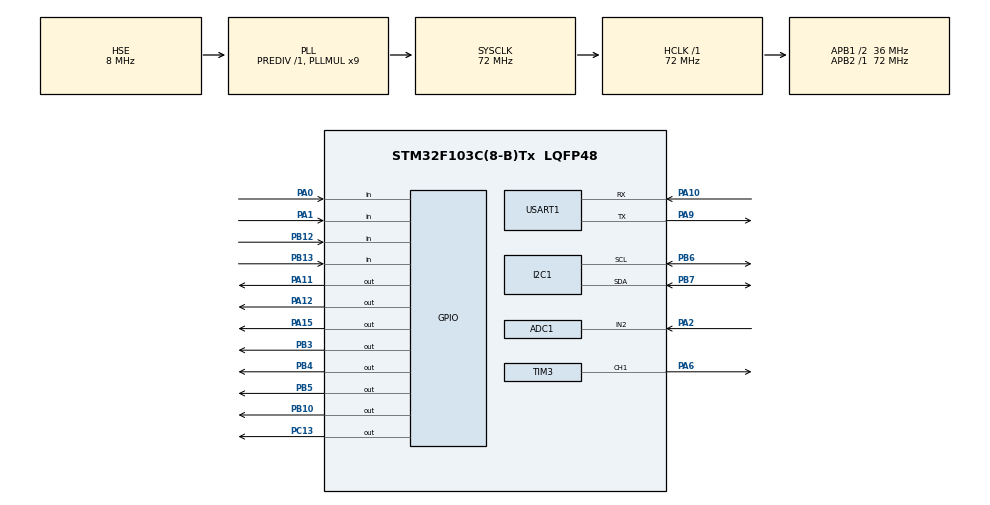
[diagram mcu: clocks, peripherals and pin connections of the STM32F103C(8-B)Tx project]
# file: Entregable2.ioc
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ADC1.Channel-0\#ChannelRegularConversion=ADC_CHANNEL_2
ADC1.ContinuousConvMode=DISABLE
ADC1.DataAlign=ADC_DATAALIGN_RIGHT
ADC1.EnableAnalogWatchDog=false
ADC1.EnableInjectedConversion=DISABLE
ADC1.EnableRegularConversion=ENABLE
ADC1.ExternalTrigInjecConv=ADC_INJECTED_SOFTWARE_START
ADC1.InjNumberOfConversion=1
ADC1.NbrOfConversionFlag=1
ADC1.Rank-0\#ChannelRegularConversion=1
ADC1.SamplingTime-0\#ChannelRegularConversion=ADC_SAMPLETIME_1CYCLE_5
ADC1.master=1
Dma.Request0=TIM3_CH1/TRIG
Dma.Request1=USART1_TX
Dma.TIM3_CH1/TRIG.0.Direction=DMA_MEMORY_TO_PERIPH
Dma.TIM3_CH1/TRIG.0.Instance=DMA1_Channel6
Dma.TIM3_CH1/TRIG.0.MemDataAlignment=DMA_MDATAALIGN_HALFWORD
Dma.TIM3_CH1/TRIG.0.MemInc=DMA_MINC_ENABLE
Dma.TIM3_CH1/TRIG.0.Mode=DMA_CIRCULAR
Dma.TIM3_CH1/TRIG.0.PeriphDataAlignment=DMA_PDATAALIGN_WORD
Dma.TIM3_CH1/TRIG.0.PeriphInc=DMA_PINC_DISABLE
Dma.TIM3_CH1/TRIG.0.Priority=DMA_PRIORITY_LOW
Dma.USART1_TX.1.Direction=DMA_MEMORY_TO_PERIPH
Dma.USART1_TX.1.Instance=DMA1_Channel4
Dma.USART1_TX.1.MemDataAlignment=DMA_MDATAALIGN_BYTE
Dma.USART1_TX.1.MemInc=DMA_MINC_ENABLE
Dma.USART1_TX.1.Mode=DMA_NORMAL
Dma.USART1_TX.1.PeriphDataAlignment=DMA_PDATAALIGN_BYTE
Dma.USART1_TX.1.PeriphInc=DMA_PINC_DISABLE
Dma.USART1_TX.1.Priority=DMA_PRIORITY_LOW
FREERTOS.Queues01=eventa2,7,event_t,0,Dynamic,NULL,NULL
FREERTOS.Tasks01=SignalGenerator,24,140,SignalGeneratorTask,Default,NULL,Dynamic,NULL,NULL;ScreenControler,24,152,ScreenControlerTask,Default,NULL,Dynamic,NULL,NULL;InputControler,40,128,InputControlerTask,Default,NULL,Dynamic,NULL,NULL;DataControler,32,128,DataControlerTask,Default,NULL,Dynamic,NULL,NULL
FREERTOS.configTOTAL_HEAP_SIZE=3100
FREERTOS.configUSE_APPLICATION_TASK_TAG=1
FREERTOS.configUSE_NEWLIB_REENTRANT=1
I2C1.I2C_Mode=I2C_Fast
Mcu.Family=STM32F1
Mcu.Name=STM32F103C(8-B)Tx
Mcu.Package=LQFP48
NVIC.ADC1_2_IRQn=true\:5\:0\:false\:false\:true\:true\:true\:true\:true
NVIC.DMA1_Channel4_IRQn=true\:5\:0\:false\:false\:true\:true\:false\:true\:true
NVIC.DMA1_Channel6_IRQn=true\:5\:0\:false\:false\:true\:true\:false\:true\:true
NVIC.PriorityGroup=NVIC_PRIORITYGROUP_4
NVIC.TIM2_IRQn=true\:0\:0\:true\:false\:true\:false\:true\:true\:true
NVIC.TIM4_IRQn=true\:15\:0\:false\:false\:true\:false\:false\:true\:true
NVIC.TimeBase=TIM4_IRQn
NVIC.TimeBaseIP=TIM4
PA0-WKUP.GPIO_PuPd=GPIO_PULLUP
PA0-WKUP.Signal=GPIO_Input
PA1.GPIO_PuPd=GPIO_PULLUP
PA1.Signal=GPIO_Input
PA10.Mode=Asynchronous
PA10.Signal=USART1_RX
PA11.Signal=GPIO_Output
PA12.Signal=GPIO_Output
PA13.Mode=Serial_Wire
PA13.Signal=SYS_JTMS-SWDIO
PA14.Mode=Serial_Wire
PA14.Signal=SYS_JTCK-SWCLK
PA15.Signal=GPIO_Output
PA2.Signal=ADCx_IN2
PA6.Signal=S_TIM3_CH1
PA9.Mode=Asynchronous
PA9.Signal=USART1_TX
PB10.Signal=GPIO_Output
PB12.GPIO_PuPd=GPIO_PULLDOWN
PB12.Signal=GPIO_Input
PB13.GPIO_PuPd=GPIO_PULLUP
PB13.Signal=GPIO_Input
PB3.Signal=GPIO_Output
PB4.Signal=GPIO_Output
PB5.Signal=GPIO_Output
PB6.Mode=I2C
PB6.Signal=I2C1_SCL
PB7.Mode=I2C
PB7.Signal=I2C1_SDA
PC13-TAMPER-RTC.Signal=GPIO_Output
PD0-OSC_IN.Mode=HSE-External-Oscillator
PD0-OSC_IN.Signal=RCC_OSC_IN
PD1-OSC_OUT.Mode=HSE-External-Oscillator
PD1-OSC_OUT.Signal=RCC_OSC_OUT
ProjectManager.HeapSize=0x200
ProjectManager.StackSize=0x400
ProjectManager.TargetToolchain=STM32CubeIDE
RCC.ADCPresc=RCC_ADCPCLK2_DIV8
RCC.AHBFreq_Value=72000000
RCC.APB1CLKDivider=RCC_HCLK_DIV2
RCC.APB1Freq_Value=36000000
RCC.APB1TimFreq_Value=72000000
RCC.APB2Freq_Value=72000000
RCC.APB2TimFreq_Value=72000000
RCC.HCLKFreq_Value=72000000
RCC.PLLMUL=RCC_PLL_MUL9
RCC.PLLSourceVirtual=RCC_PLLSOURCE_HSE
RCC.SYSCLKFreq_VALUE=72000000
RCC.SYSCLKSource=RCC_SYSCLKSOURCE_PLLCLK
RCC.USBFreq_Value=72000000
SH.ADCx_IN2.0=ADC1_IN2,IN2
SH.S_TIM3_CH1.0=TIM3_CH1,PWM Generation1 CH1
TIM2.Period=99
TIM2.Prescaler=719
TIM3.Channel-PWM\ Generation1\ CH1=TIM_CHANNEL_1
TIM3.Period=7
TIM3.Prescaler=200
USART1.VirtualMode=VM_ASYNC
VP_FREERTOS_VS_CMSIS_V2.Mode=CMSIS_V2
VP_SYS_VS_tim4.Mode=TIM4
VP_TIM2_VS_ClockSourceINT.Mode=Internal
VP_TIM3_VS_ClockSourceINT.Mode=Internal
board=custom

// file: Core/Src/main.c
/* USER CODE BEGIN Header */
/**
  ******************************************************************************
  * @file           : main.c
  * @brief          : Main program body
  ******************************************************************************
  * @attention
  *
  * Copyright (c) 2024 STMicroelectronics.
  * All rights reserved.
  *
  * This software is licensed under terms that can be found in the LICENSE file
  * in the root directory of this software component.
  * If no LICENSE file comes with this software, it is provided AS-IS.
  *
  ******************************************************************************
  */
/* USER CODE END Header */
#include "main.h"
#include "cmsis_os.h"

/* USER CODE BEGIN Includes */
#include "fonts.h"
#include "ssd1306.h"
#include "task.h"
#include <stdio.h>
#include "fft.h"
#include "tomasitos_library.h"
#include "math.h"
//#include "twid256.h"
/* USER CODE END Includes */

/* USER CODE BEGIN PD */
#define ENCODER_BUTTON 	GPIOB,GPIO_PIN_13
#define BUTTON			GPIOB,GPIO_PIN_12
#define LED				GPIOC,GPIO_PIN_13
#define NSEN 130
#define VMAX 720

#define PIN0			GPIOA,GPIO_PIN_11
#define PIN1			GPIOA,GPIO_PIN_12
#define PIN2			GPIOA,GPIO_PIN_15
#define PIN3			GPIOB,GPIO_PIN_3
#define PIN4			GPIOB,GPIO_PIN_4
#define PIN5			GPIOB,GPIO_PIN_5

//#define FFT_BUFFER_SIZE 256
#define ADC_BUFFER_SIZE 256
/* USER CODE END PD */

ADC_HandleTypeDef hadc1;

I2C_HandleTypeDef hi2c1;

TIM_HandleTypeDef htim2;
TIM_HandleTypeDef htim3;
DMA_HandleTypeDef hdma_tim3_ch1_trig;

UART_HandleTypeDef huart1;
DMA_HandleTypeDef hdma_usart1_tx;

/* Definitions for SignalGenerator */
osThreadId_t SignalGeneratorHandle;
const osThreadAttr_t SignalGenerator_attributes = {
  .name = "SignalGenerator",
  .stack_size = 140 * 4,
  .priority = (osPriority_t) osPriorityNormal,
};
/* Definitions for ScreenControler */
osThreadId_t ScreenControlerHandle;
const osThreadAttr_t ScreenControler_attributes = {
  .name = "ScreenControler",
  .stack_size = 152 * 4,
  .priority = (osPriority_t) osPriorityNormal,
};
/* Definitions for InputControler */
osThreadId_t InputControlerHandle;
const osThreadAttr_t InputControler_attributes = {
  .name = "InputControler",
  .stack_size = 128 * 4,
  .priority = (osPriority_t) osPriorityHigh,
};
/* Definitions for DataControler */
osThreadId_t DataControlerHandle;
const osThreadAttr_t DataControler_attributes = {
  .name = "DataControler",
  .stack_size = 128 * 4,
  .priority = (osPriority_t) osPriorityAboveNormal,
};
/* Definitions for eventa2 */
osMessageQueueId_t eventa2Handle;
const osMessageQueueAttr_t eventa2_attributes = {
  .name = "eventa2"
};
/* USER CODE BEGIN PV */
typedef enum{display_init,display1,display2A,display2B,display2C,display3,displayUART}state_t;
typedef enum{null,button,button2,dec,inc}event_t;
volatile int period=26;
//volatile uint16_t muestra_vieja=0;
volatile int x=0;
uint8_t xmax=0;
volatile uint8_t amplitud=100;
volatile uint32_t j_adc=0;
volatile uint8_t Flag_muestras=0;
uint16_t adc_buffer[ADC_BUFFER_SIZE];
uint32_t p_buffer[ADC_BUFFER_SIZE];
struct cmpx FFT_buffer[ADC_BUFFER_SIZE];
volatile int button_flag_counter=0;
volatile int button_flag_counter_ant=4;

/* USER CODE END PV */

void SystemClock_Config(void);
static void MX_GPIO_Init(void);
static void MX_DMA_Init(void);
static void MX_I2C1_Init(void);
static void MX_TIM3_Init(void);
static void MX_ADC1_Init(void);
static void MX_TIM2_Init(void);
static void MX_USART1_UART_Init(void);
void SignalGeneratorTask(void *argument);
void ScreenControlerTask(void *argument);
void InputControlerTask(void *argument);
void DataControlerTask(void *argument);

/* USER CODE BEGIN PFP */
void display(state_t *actual, event_t evt);
void action(state_t dsp);
void parche();
//void HAL_ADC_ConvCpltCallback(ADC_HandleTypeDef hadc1);
/* USER CODE END PFP */

int main(void)
{

  /* MCU Configuration--------------------------------------------------------*/

  /* Reset of all peripherals, Initializes the Flash interface and the Systick. */
  HAL_Init();

  /* Configure the system clock */
  SystemClock_Config();

  /* Initialize all configured peripherals */
  MX_GPIO_Init();
  MX_DMA_Init();
  MX_I2C1_Init();
  MX_TIM3_Init();
  MX_ADC1_Init();
  MX_TIM2_Init();
  MX_USART1_UART_Init();
  /* USER CODE BEGIN 2 */
  HAL_GPIO_WritePin(LED, 1);
  HAL_TIM_Base_Start_IT(&htim2);

  SSD1306_Init();

  /* USER CODE END 2 */

  /* Init scheduler */
  osKernelInitialize();

  /* Create the queue(s) */
  /* creation of eventa2 */
  eventa2Handle = osMessageQueueNew (7, sizeof(event_t), &eventa2_attributes);

  /* Create the thread(s) */
  /* creation of SignalGenerator */
  SignalGeneratorHandle = osThreadNew(SignalGeneratorTask, NULL, &SignalGenerator_attributes);

  /* creation of ScreenControler */
  ScreenControlerHandle = osThreadNew(ScreenControlerTask, NULL, &ScreenControler_attributes);

  /* creation of InputControler */
  InputControlerHandle = osThreadNew(InputControlerTask, NULL, &InputControler_attributes);

  /* creation of DataControler */
  DataControlerHandle = osThreadNew(DataControlerTask, NULL, &DataControler_attributes);

  /* Start scheduler */
  osKernelStart();

  /* We should never get here as control is now taken by the scheduler */

  /* Infinite loop */
  while (1)
  {

  }
}

void SystemClock_Config(void)
{
  RCC_OscInitTypeDef RCC_OscInitStruct = {0};
  RCC_ClkInitTypeDef RCC_ClkInitStruct = {0};
  RCC_PeriphCLKInitTypeDef PeriphClkInit = {0};

  /** Initializes the RCC Oscillators according to the specified parameters
  * in the RCC_OscInitTypeDef structure.
  */
  RCC_OscInitStruct.OscillatorType = RCC_OSCILLATORTYPE_HSE;
  RCC_OscInitStruct.HSEState = RCC_HSE_ON;
  RCC_OscInitStruct.HSEPredivValue = RCC_HSE_PREDIV_DIV1;
  RCC_OscInitStruct.HSIState = RCC_HSI_ON;
  RCC_OscInitStruct.PLL.PLLState = RCC_PLL_ON;
  RCC_OscInitStruct.PLL.PLLSource = RCC_PLLSOURCE_HSE;
  RCC_OscInitStruct.PLL.PLLMUL = RCC_PLL_MUL9;
  if (HAL_RCC_OscConfig(&RCC_OscInitStruct) != HAL_OK)
  {
    Error_Handler();
  }

  /** Initializes the CPU, AHB and APB buses clocks
  */
  RCC_ClkInitStruct.ClockType = RCC_CLOCKTYPE_HCLK|RCC_CLOCKTYPE_SYSCLK
                              |RCC_CLOCKTYPE_PCLK1|RCC_CLOCKTYPE_PCLK2;
  RCC_ClkInitStruct.SYSCLKSource = RCC_SYSCLKSOURCE_PLLCLK;
  RCC_ClkInitStruct.AHBCLKDivider = RCC_SYSCLK_DIV1;
  RCC_ClkInitStruct.APB1CLKDivider = RCC_HCLK_DIV2;
  RCC_ClkInitStruct.APB2CLKDivider = RCC_HCLK_DIV1;

  if (HAL_RCC_ClockConfig(&RCC_ClkInitStruct, FLASH_LATENCY_2) != HAL_OK)
  {
    Error_Handler();
  }
  PeriphClkInit.PeriphClockSelection = RCC_PERIPHCLK_ADC;
  PeriphClkInit.AdcClockSelection = RCC_ADCPCLK2_DIV8;
  if (HAL_RCCEx_PeriphCLKConfig(&PeriphClkInit) != HAL_OK)
  {
    Error_Handler();
  }
}

static void MX_ADC1_Init(void)
{

  ADC_ChannelConfTypeDef sConfig = {0};

  /** Common config
  */
  hadc1.Instance = ADC1;
  hadc1.Init.ScanConvMode = ADC_SCAN_DISABLE;
  hadc1.Init.ContinuousConvMode = DISABLE;
  hadc1.Init.DiscontinuousConvMode = DISABLE;
  hadc1.Init.ExternalTrigConv = ADC_SOFTWARE_START;
  hadc1.Init.DataAlign = ADC_DATAALIGN_RIGHT;
  hadc1.Init.NbrOfConversion = 1;
  if (HAL_ADC_Init(&hadc1) != HAL_OK)
  {
    Error_Handler();
  }

  /** Configure Regular Channel
  */
  sConfig.Channel = ADC_CHANNEL_2;
  sConfig.Rank = ADC_REGULAR_RANK_1;
  sConfig.SamplingTime = ADC_SAMPLETIME_1CYCLE_5;
  if (HAL_ADC_ConfigChannel(&hadc1, &sConfig) != HAL_OK)
  {
    Error_Handler();
  }

}

static void MX_I2C1_Init(void)
{

  hi2c1.Instance = I2C1;
  hi2c1.Init.ClockSpeed = 400000;
  hi2c1.Init.DutyCycle = I2C_DUTYCYCLE_2;
  hi2c1.Init.OwnAddress1 = 0;
  hi2c1.Init.AddressingMode = I2C_ADDRESSINGMODE_7BIT;
  hi2c1.Init.DualAddressMode = I2C_DUALADDRESS_DISABLE;
  hi2c1.Init.OwnAddress2 = 0;
  hi2c1.Init.GeneralCallMode = I2C_GENERALCALL_DISABLE;
  hi2c1.Init.NoStretchMode = I2C_NOSTRETCH_DISABLE;
  if (HAL_I2C_Init(&hi2c1) != HAL_OK)
  {
    Error_Handler();
  }

}

static void MX_TIM2_Init(void)
{

  TIM_ClockConfigTypeDef sClockSourceConfig = {0};
  TIM_MasterConfigTypeDef sMasterConfig = {0};

  htim2.Instance = TIM2;
  htim2.Init.Prescaler = 719;
  htim2.Init.CounterMode = TIM_COUNTERMODE_UP;
  htim2.Init.Period = 99;
  htim2.Init.ClockDivision = TIM_CLOCKDIVISION_DIV1;
  htim2.Init.AutoReloadPreload = TIM_AUTORELOAD_PRELOAD_DISABLE;
  if (HAL_TIM_Base_Init(&htim2) != HAL_OK)
  {
    Error_Handler();
  }
  sClockSourceConfig.ClockSource = TIM_CLOCKSOURCE_INTERNAL;
  if (HAL_TIM_ConfigClockSource(&htim2, &sClockSourceConfig) != HAL_OK)
  {
    Error_Handler();
  }
  sMasterConfig.MasterOutputTrigger = TIM_TRGO_RESET;
  sMasterConfig.MasterSlaveMode = TIM_MASTERSLAVEMODE_DISABLE;
  if (HAL_TIMEx_MasterConfigSynchronization(&htim2, &sMasterConfig) != HAL_OK)
  {
    Error_Handler();
  }

}

static void MX_TIM3_Init(void)
{

  TIM_ClockConfigTypeDef sClockSourceConfig = {0};
  TIM_MasterConfigTypeDef sMasterConfig = {0};
  TIM_OC_InitTypeDef sConfigOC = {0};

  htim3.Instance = TIM3;
  htim3.Init.Prescaler = 200;
  htim3.Init.CounterMode = TIM_COUNTERMODE_UP;
  htim3.Init.Period = 7;
  htim3.Init.ClockDivision = TIM_CLOCKDIVISION_DIV1;
  htim3.Init.AutoReloadPreload = TIM_AUTORELOAD_PRELOAD_DISABLE;
  if (HAL_TIM_Base_Init(&htim3) != HAL_OK)
  {
    Error_Handler();
  }
  sClockSourceConfig.ClockSource = TIM_CLOCKSOURCE_INTERNAL;
  if (HAL_TIM_ConfigClockSource(&htim3, &sClockSourceConfig) != HAL_OK)
  {
    Error_Handler();
  }
  if (HAL_TIM_PWM_Init(&htim3) != HAL_OK)
  {
    Error_Handler();
  }
  sMasterConfig.MasterOutputTrigger = TIM_TRGO_RESET;
  sMasterConfig.MasterSlaveMode = TIM_MASTERSLAVEMODE_DISABLE;
  if (HAL_TIMEx_MasterConfigSynchronization(&htim3, &sMasterConfig) != HAL_OK)
  {
    Error_Handler();
  }
  sConfigOC.OCMode = TIM_OCMODE_PWM1;
  sConfigOC.Pulse = 0;
  sConfigOC.OCPolarity = TIM_OCPOLARITY_HIGH;
  sConfigOC.OCFastMode = TIM_OCFAST_DISABLE;
  if (HAL_TIM_PWM_ConfigChannel(&htim3, &sConfigOC, TIM_CHANNEL_1) != HAL_OK)
  {
    Error_Handler();
  }
  HAL_TIM_MspPostInit(&htim3);

}

static void MX_USART1_UART_Init(void)
{

  huart1.Instance = USART1;
  huart1.Init.BaudRate = 115200;
  huart1.Init.WordLength = UART_WORDLENGTH_8B;
  huart1.Init.StopBits = UART_STOPBITS_1;
  huart1.Init.Parity = UART_PARITY_NONE;
  huart1.Init.Mode = UART_MODE_TX_RX;
  huart1.Init.HwFlowCtl = UART_HWCONTROL_NONE;
  huart1.Init.OverSampling = UART_OVERSAMPLING_16;
  if (HAL_UART_Init(&huart1) != HAL_OK)
  {
    Error_Handler();
  }

}

static void MX_DMA_Init(void)
{

  /* DMA controller clock enable */
  __HAL_RCC_DMA1_CLK_ENABLE();

  /* DMA interrupt init */
  /* DMA1_Channel4_IRQn interrupt configuration */
  HAL_NVIC_SetPriority(DMA1_Channel4_IRQn, 5, 0);
  HAL_NVIC_EnableIRQ(DMA1_Channel4_IRQn);
  /* DMA1_Channel6_IRQn interrupt configuration */
  HAL_NVIC_SetPriority(DMA1_Channel6_IRQn, 5, 0);
  HAL_NVIC_EnableIRQ(DMA1_Channel6_IRQn);

}

static void MX_GPIO_Init(void)
{
  GPIO_InitTypeDef GPIO_InitStruct = {0};

  /* GPIO Ports Clock Enable */
  __HAL_RCC_GPIOC_CLK_ENABLE();
  __HAL_RCC_GPIOD_CLK_ENABLE();
  __HAL_RCC_GPIOA_CLK_ENABLE();
  __HAL_RCC_GPIOB_CLK_ENABLE();

  /*Configure GPIO pin Output Level */
  HAL_GPIO_WritePin(GPIOC, GPIO_PIN_13, GPIO_PIN_RESET);

  /*Configure GPIO pin Output Level */
  HAL_GPIO_WritePin(GPIOB, GPIO_PIN_10|GPIO_PIN_3|GPIO_PIN_4|GPIO_PIN_5, GPIO_PIN_RESET);

  /*Configure GPIO pin Output Level */
  HAL_GPIO_WritePin(GPIOA, GPIO_PIN_11|GPIO_PIN_12|GPIO_PIN_15, GPIO_PIN_RESET);

  /*Configure GPIO pin : PC13 */
  GPIO_InitStruct.Pin = GPIO_PIN_13;
  GPIO_InitStruct.Mode = GPIO_MODE_OUTPUT_PP;
  GPIO_InitStruct.Pull = GPIO_NOPULL;
  GPIO_InitStruct.Speed = GPIO_SPEED_FREQ_LOW;
  HAL_GPIO_Init(GPIOC, &GPIO_InitStruct);

  /*Configure GPIO pins : PA0 PA1 */
  GPIO_InitStruct.Pin = GPIO_PIN_0|GPIO_PIN_1;
  GPIO_InitStruct.Mode = GPIO_MODE_INPUT;
  GPIO_InitStruct.Pull = GPIO_PULLUP;
  HAL_GPIO_Init(GPIOA, &GPIO_InitStruct);

  /*Configure GPIO pins : PB10 PB3 PB4 PB5 */
  GPIO_InitStruct.Pin = GPIO_PIN_10|GPIO_PIN_3|GPIO_PIN_4|GPIO_PIN_5;
  GPIO_InitStruct.Mode = GPIO_MODE_OUTPUT_PP;
  GPIO_InitStruct.Pull = GPIO_NOPULL;
  GPIO_InitStruct.Speed = GPIO_SPEED_FREQ_LOW;
  HAL_GPIO_Init(GPIOB, &GPIO_InitStruct);

  /*Configure GPIO pin : PB12 */
  GPIO_InitStruct.Pin = GPIO_PIN_12;
  GPIO_InitStruct.Mode = GPIO_MODE_INPUT;
  GPIO_InitStruct.Pull = GPIO_PULLDOWN;
  HAL_GPIO_Init(GPIOB, &GPIO_InitStruct);

  /*Configure GPIO pin : PB13 */
  GPIO_InitStruct.Pin = GPIO_PIN_13;
  GPIO_InitStruct.Mode = GPIO_MODE_INPUT;
  GPIO_InitStruct.Pull = GPIO_PULLUP;
  HAL_GPIO_Init(GPIOB, &GPIO_InitStruct);

  /*Configure GPIO pins : PA11 PA12 PA15 */
  GPIO_InitStruct.Pin = GPIO_PIN_11|GPIO_PIN_12|GPIO_PIN_15;
  GPIO_InitStruct.Mode = GPIO_MODE_OUTPUT_PP;
  GPIO_InitStruct.Pull = GPIO_NOPULL;
  GPIO_InitStruct.Speed = GPIO_SPEED_FREQ_LOW;
  HAL_GPIO_Init(GPIOA, &GPIO_InitStruct);

}

/* USER CODE BEGIN 4 */

void callback_in(int tag) {
	switch (tag) {
	case 0:
		HAL_GPIO_WritePin(PIN0, GPIO_PIN_SET);
		break;
	case 1:
		HAL_GPIO_WritePin(PIN1, GPIO_PIN_SET);
		break;
	case 2:
		HAL_GPIO_WritePin(PIN2, GPIO_PIN_SET);
		break;
	case 3:
		HAL_GPIO_WritePin(PIN3, GPIO_PIN_SET);
		break;
	case 4:
		HAL_GPIO_WritePin(PIN4, GPIO_PIN_SET);
		break;
	default:
		HAL_GPIO_WritePin(PIN0, GPIO_PIN_SET);
		break;
	}
}

void callback_out(int tag) {
	switch (tag) {
	case 0:
		HAL_GPIO_WritePin(PIN0, GPIO_PIN_RESET);
		break;
	case 1:
		HAL_GPIO_WritePin(PIN1, GPIO_PIN_RESET);
		break;
	case 2:
		HAL_GPIO_WritePin(PIN2, GPIO_PIN_RESET);
		break;
	case 3:
		HAL_GPIO_WritePin(PIN3, GPIO_PIN_RESET);
		break;
	case 4:
		HAL_GPIO_WritePin(PIN4, GPIO_PIN_RESET);
		break;
	default:
		HAL_GPIO_WritePin(PIN0, GPIO_PIN_RESET);
		break;
	}
}

/*
void parche(){
	//if(adc_buffer[250]==muestra_vieja){
		for(int i=0;i<40;i++){
			adc_buffer[i+216]=0;
		}
	//}
	//muestra_vieja=adc_buffer[250];
}*/

void action(state_t dsp){
	int AMPL_ONDA=0;
	int AMPL_CURSOR=0;
	int FREC_ONDA=0;
	int FREC_CURSOR=0;
	char buffer_char[10];
	switch(dsp){
	case display_init:
		SSD1306_GotoXY(0,0);
		SSD1306_DrawFilledRectangle(2, 2, 124, 60, SSD1306_COLOR_WHITE);
		SSD1306_DrawFilledRectangle(4, 4, 120, 56, SSD1306_COLOR_BLACK);
		SSD1306_GotoXY(6, 9);
		SSD1306_Puts("Analizador", &Font_11x18, SSD1306_COLOR_WHITE);
		SSD1306_GotoXY(20, 25);
		SSD1306_Puts("espectral", &Font_11x18, SSD1306_COLOR_WHITE);
		SSD1306_GotoXY(6, 50);
		SSD1306_Puts("->Ir a display 1", &Font_7x10, SSD1306_COLOR_WHITE);

		SSD1306_UpdateScreen();
		break;
	case display1:
		for(uint16_t i=0;i<ADC_BUFFER_SIZE;i++){
			p_buffer[i]=(uint32_t)(sqrt((FFT_buffer[i].real*FFT_buffer[i].real)+(FFT_buffer[i].imag*FFT_buffer[i].imag)));
		}
		FREC_CURSOR=500*x/128;
		AMPL_CURSOR=1650*p_buffer[x]/350;
		PrintBufferAsGraph(p_buffer,ADC_BUFFER_SIZE,AMPL_CURSOR,FREC_CURSOR,&xmax);
		SSD1306_DrawLine(x,0,x,63,SSD1306_COLOR_WHITE);
		SSD1306_UpdateScreen();

	break;
	case display2A:
			  SSD1306_GotoXY(0, 0);
			  SSD1306_Puts("pantalla2", &Font_7x10, SSD1306_COLOR_WHITE);

			  SSD1306_DrawFilledRectangle(0, 20, 100, 10, SSD1306_COLOR_WHITE);
			  SSD1306_GotoXY(0, 20);
			  SSD1306_Puts("Amplitud", &Font_7x10, SSD1306_COLOR_BLACK);
			  SSD1306_GotoXY(0, 30);
			  SSD1306_Puts("Frecuencia", &Font_7x10, SSD1306_COLOR_WHITE);
			  SSD1306_GotoXY(0, 40);
			  SSD1306_Puts("Cursor", &Font_7x10, SSD1306_COLOR_WHITE);
			  break;
	case display2B:
			  SSD1306_GotoXY(0, 0);
			  SSD1306_Puts("pantalla2", &Font_7x10, SSD1306_COLOR_WHITE);

			  SSD1306_DrawFilledRectangle(0, 30, 100, 10, SSD1306_COLOR_WHITE);
			  SSD1306_GotoXY(0, 20);
			  SSD1306_Puts("Amplitud", &Font_7x10, SSD1306_COLOR_WHITE);
			  SSD1306_GotoXY(0, 30);
			  SSD1306_Puts("Frecuencia", &Font_7x10, SSD1306_COLOR_BLACK);
			  SSD1306_GotoXY(0, 40);
			  SSD1306_Puts("Cursor", &Font_7x10, SSD1306_COLOR_WHITE);
			  break;
	case display2C:
			  SSD1306_GotoXY(0, 0);
			  SSD1306_Puts("pantalla2", &Font_7x10, SSD1306_COLOR_WHITE);
			  SSD1306_DrawFilledRectangle(0, 40, 100, 10, SSD1306_COLOR_WHITE);
			  SSD1306_GotoXY(0, 20);
			  SSD1306_Puts("Amplitud", &Font_7x10, SSD1306_COLOR_WHITE);
			  SSD1306_GotoXY(0, 30);
			  SSD1306_Puts("Frecuencia", &Font_7x10, SSD1306_COLOR_WHITE);
			  SSD1306_GotoXY(0, 40);
			  SSD1306_Puts("Cursor", &Font_7x10, SSD1306_COLOR_BLACK);
			  break;
	case display3:
		FREC_CURSOR=500*x/128;
		AMPL_CURSOR=1650*p_buffer[x]/350;
		AMPL_ONDA=1650*p_buffer[xmax]/350;
		FREC_ONDA=500*xmax/128;

		ImprimirLinea("display 3:",1);
		SSD1306_GotoXY(0, 20);
		SSD1306_Puts("AMPL Onda       ", &Font_7x10, SSD1306_COLOR_WHITE);
		SSD1306_GotoXY(80, 20);
		sprintf(buffer_char, "%dmV ", AMPL_ONDA);
		SSD1306_Puts(buffer_char, &Font_7x10, SSD1306_COLOR_BLACK);

		SSD1306_GotoXY(0, 30);
		SSD1306_Puts("FREC Onda     ", &Font_7x10, SSD1306_COLOR_WHITE);
		SSD1306_GotoXY(80, 30);
		sprintf(buffer_char, "%d Hz",FREC_ONDA);
		SSD1306_Puts(buffer_char, &Font_7x10, SSD1306_COLOR_BLACK);

		SSD1306_GotoXY(0, 40);
		SSD1306_Puts("AMPL Cursor  ", &Font_7x10, SSD1306_COLOR_WHITE);
		SSD1306_GotoXY(80, 40);
		sprintf(buffer_char, "%dmV ", AMPL_CURSOR);
		SSD1306_Puts(buffer_char, &Font_7x10, SSD1306_COLOR_BLACK);

		SSD1306_GotoXY(0, 50);
		SSD1306_Puts("FREC Cursor  ", &Font_7x10, SSD1306_COLOR_WHITE);
		SSD1306_GotoXY(80, 50);
		sprintf(buffer_char, "%d Hz", FREC_CURSOR);
		SSD1306_Puts(buffer_char, &Font_7x10, SSD1306_COLOR_BLACK);
		break;

	case displayUART:
		taskENTER_CRITICAL();
		HAL_TIM_Base_Stop_IT(&htim2);
		for(int i=0;i<ADC_BUFFER_SIZE;i++){
			char datac1[5];
			char datac2[4];
			char datac3[3];
			char datac4[2];
			int datai=(int)1650*p_buffer[i]/350;
			if(datai>999){
				sprintf(datac1,"%d,",datai);
				HAL_UART_Transmit(&huart1, (uint8_t*)&datac1, sizeof(datac1),HAL_MAX_DELAY);
			}
			if(datai<1000 && datai>99){
				sprintf(datac2,"%d,",datai);
				HAL_UART_Transmit(&huart1, (uint8_t*)&datac2, sizeof(datac2),HAL_MAX_DELAY);
			}
			if(datai<100 && datai>9){
				sprintf(datac3,"%d,",datai);
				HAL_UART_Transmit(&huart1, (uint8_t*)&datac3, sizeof(datac3),HAL_MAX_DELAY);
			}
			if(datai<10){
				sprintf(datac4,"%d,",datai);
				HAL_UART_Transmit(&huart1, (uint8_t*)&datac4, sizeof(datac4),HAL_MAX_DELAY);
			}
		}
		HAL_TIM_Base_Start_IT(&htim2);
		taskEXIT_CRITICAL();
		break;
	default:
		break;
	}
}

void display(state_t *actual, event_t evt){
	switch(*actual){
	case display_init:
		if(evt==button){
			action(display1);
			*actual=display1;
		}
		break;
	case display1:
		switch(evt){
		case button:
			button_flag_counter_ant=4;
			action(display2A);
			*actual=display2A;
			break;
		case button2:
			action(displayUART);
			*actual=displayUART;
			break;
		case inc:
			switch(button_flag_counter_ant){
			case 0:
				amplitud++;
				if(amplitud>100){
					amplitud=100;
				}
				break;
			case 1:
				period++;
				break;
			case 2:
				x++;
				break;
			default:
				break;
			}
			action(display1);
			break;
		case dec:
			switch(button_flag_counter_ant){
			case 0:
				amplitud--;
				break;
			case 1:
				period--;
				break;
			case 2:
				x--;
				break;
			default:
				break;
			}
			action(display1);
			break;
		default:
			action(display1);
			break;
		}

	break;
	case display2A:
		button_flag_counter=button_flag_counter_ant;
		switch(evt){
		case button:
			SSD1306_Clear();
			action(display3);
			*actual=display3;
			break;
		case button2:
			action(displayUART);
			*actual=displayUART;
			break;
		case inc:
			button_flag_counter++;
			break;
		case dec:
			button_flag_counter--;
			break;
		default:
			break;
		}

		if (button_flag_counter < 0) {
			button_flag_counter = 2;
		}

		if (button_flag_counter > 2) {
				button_flag_counter = 0;
			}
		if(button_flag_counter_ant!=button_flag_counter){
			SSD1306_Clear();
		}

		switch(button_flag_counter){
		case 0:
			action(display2A);
			break;
		case 1:
			action(display2B);
			break;
		case 2:
			action(display2C);
			break;
		default:
			break;
		}
		if(button_flag_counter_ant!=button_flag_counter){
					SSD1306_UpdateScreen();
					button_flag_counter_ant=button_flag_counter;
				}
	break;
	case display3:
		switch(evt){
		case button:
			action(display1);
			*actual=display1;
			break;
		case button2:
			action(displayUART);
			*actual=displayUART;
			break;
		default:
			action(display3);
			break;
		}
	break;
	case displayUART:
		action(display1);
		*actual=display1;
		break;
	default:
		break;
	}
}

/* USER CODE END 4 */

void SignalGeneratorTask(void *argument)
{
  /* USER CODE BEGIN 5 */
	vTaskSetApplicationTaskTag(NULL, (void*)1);
	uint16_t onda[NSEN] = {0};
	int idx = 0;
	uint32_t period_anterior=0;
	uint8_t amplitud_anterior=0;
	uint32_t period_PWM=0;
  /* Infinite loop */
  for(;;)
  {
	  uint32_t stack_SGT=4*osThreadGetStackSpace(SignalGeneratorHandle);
	  if(period_anterior!=period || amplitud_anterior!=amplitud){
		  period_anterior=period;
		  amplitud_anterior=amplitud;
		  HAL_TIM_PWM_Stop_DMA(&htim3, TIM_CHANNEL_1);
		  period_PWM=set_PWM_period(period);

		  __HAL_TIM_SET_AUTORELOAD(&htim3, period_PWM);
		  __HAL_TIM_SET_COUNTER(&htim3, 0);

		    for (idx = 0; idx < NSEN; idx++) {
		        onda[idx] = (uint16_t)((float)((float)amplitud/100)*(period_PWM+1)/ 2.0 * (sin(2.0 * M_PI * idx / (float)NSEN) + 1.0));
		    }

		    HAL_TIM_PWM_Start_DMA(&htim3, TIM_CHANNEL_1, (uint32_t*)onda, NSEN);
	  }
	  osDelay(250);
  }
  /* USER CODE END 5 */
}

void ScreenControlerTask(void *argument)
{
  /* USER CODE BEGIN ScreenControlerTask */
	vTaskSetApplicationTaskTag(NULL, (void*)2);
	uint32_t flag_SCT=0;
	event_t eventSCT=null;
	state_t estado=display_init;
	action(display_init);
	/* Infinite loop */
	for(;;){
		uint32_t stack_SCT=4*osThreadGetStackSpace(ScreenControlerHandle);
		flag_SCT=ulTaskNotifyTake(pdTRUE, portMAX_DELAY);
		if(flag_SCT==1){
			flag_SCT=0;
			if(osMessageQueueGetSpace(eventa2Handle)<7){
				osMessageQueueGet(eventa2Handle, &eventSCT, 0, 100);
			}
			else{
				eventSCT=null;
			}
			display(&estado,eventSCT);
			HAL_TIM_Base_Start_IT(&htim2);
		}
	osDelay(100);
	}
  /* USER CODE END ScreenControlerTask */
}

void InputControlerTask(void *argument)
{
  /* USER CODE BEGIN InputControlerTask */
  /* Infinite loop */
	vTaskSetApplicationTaskTag(NULL, (void*)3);
	Encoder_Status St=Neutral;
	event_t event;
	uint32_t antirebote=0;
	uint32_t antirebote2=0;
  for(;;)
  {
	uint32_t stack_ICT=4*osThreadGetStackSpace(InputControlerHandle);
	event=null;
	St=Encoder_Get_Status();
	if (St==Incremented){
		event=inc;
	}
	if(St==Decremented){
		event=dec;
	}
	uint16_t SW_encoder = HAL_GPIO_ReadPin(ENCODER_BUTTON);
	if(antirebote==0){
	if(SW_encoder == 0){
		event=button;
		antirebote=1;
	}
	}
	antirebote=antirebote_ftn(antirebote);

	uint16_t SW_button = HAL_GPIO_ReadPin(BUTTON);
	if(antirebote2==0){
	if(SW_button == 1){
		antirebote2=1;
		event=button2;
	}
	}
	antirebote2=antirebote_ftn(antirebote2);

	if(event!=null){
		osMessageQueuePut(eventa2Handle, &event, 0,100);
	}
	osDelay(1);
  }
  /* USER CODE END InputControlerTask */
}

void DataControlerTask(void *argument)
{
  /* USER CODE BEGIN DataControlerTask */
	vTaskSetApplicationTaskTag(NULL, (void*)4);
  /* Infinite loop */
  for(;;){
	 if(Flag_muestras==1){
		 Flag_muestras=0;
		 uint32_t freeHeap = xPortGetFreeHeapSize();
		 uint32_t stack_DCT=4*osThreadGetStackSpace(DataControlerHandle);
			for(int j_fft=0;j_fft<ADC_BUFFER_SIZE;j_fft++){
				FFT_buffer[j_fft].real=(float)(3.3*adc_buffer[j_fft]/4095.0);
				FFT_buffer[j_fft].imag=0;
			}
			FFT(FFT_buffer,ADC_BUFFER_SIZE);
			xTaskNotify(ScreenControlerHandle, 1,eSetValueWithOverwrite);
	 }
	  osDelay(1);
  }
  /* USER CODE END DataControlerTask */
}

void HAL_TIM_PeriodElapsedCallback(TIM_HandleTypeDef *htim)
{
  if (htim->Instance == TIM4) {
    HAL_IncTick();
  }
  /* USER CODE BEGIN Callback 1 */
  if (htim->Instance == TIM2){
	  HAL_GPIO_WritePin(PIN5,1);
	  if(j_adc>=ADC_BUFFER_SIZE-1){
		  j_adc=0;
		  Flag_muestras=1;
		  HAL_TIM_Base_Stop_IT(&htim2);
	  }
	  else{
		  HAL_ADC_Start(&hadc1);
		  HAL_ADC_PollForConversion(&hadc1, HAL_MAX_DELAY);
		  uint16_t ADC_value = HAL_ADC_GetValue(&hadc1);
		  adc_buffer[j_adc]=ADC_value;
		  j_adc++;
	  }
	  HAL_GPIO_WritePin(PIN5,0);
  }
  /* USER CODE END Callback 1 */
}

void Error_Handler(void)
{
  __disable_irq();
  while (1)
  {
  }
}
